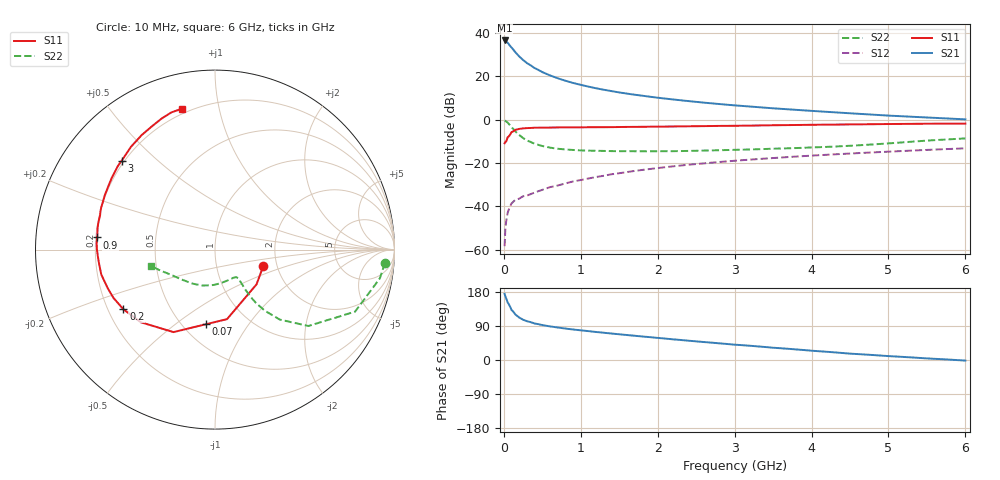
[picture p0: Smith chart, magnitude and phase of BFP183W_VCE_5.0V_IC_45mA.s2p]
! Infineon Technologies  Discrete & RF Semiconductors
! BFP183W
! VCE =  5.0 V,  IC =  45 mA
! Common Emitter S-Parameters:  Jan 2017
# GHz  S  MA  R  50
!  f  S11  S21  S12  S22
! GHz  MAG  ANG  MAG  ANG  MAG  ANG  MAG  ANG
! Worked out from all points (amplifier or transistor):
!   77 points, 10 MHz to 6 GHz, reference 50 ohm
!   highest |S21| = 36.5 dB at 10 MHz (marker M1)
!   |S21| within 3 dB of that: start of sweep to 93.57 MHz
!   unconditionally stable (mu >= 1): 691 MHz to 3.332 GHz
!   at 130 MHz: K = 0.39, MSG = 34.8 dB, |S12| = -37.7 dB
!   at 2.2 GHz: K = 1.07, MAG = 13.9 dB, |S12| = -21.6 dB
!   at 6 GHz: K = 0.85, MSG = 6.7 dB, |S12| = -13.3 dB
!   S11 on the Smith chart (normalised r, x): 10 MHz: 1.69, -0.34; 70 MHz: 0.64, -0.65; 200 MHz: 0.26, -0.28; 900 MHz: 0.21, +0.05; 3 GHz: 0.19, +0.39; 6 GHz: 0.17, +0.78
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0.01  0.2842 -19.1  66.83 174.4  0.0012 83.4  0.9497 -4.5
0.02  0.3017 -39.9  65.65 167.9  0.0031 89.3  0.9324 -9.9
0.05  0.3932 -80.2  59.17 151.8  0.0071 68.3  0.8534 -23.9
0.07  0.4196 -97.2  53.18 145.1  0.0089 62.4  0.7746 -29.2
0.1  0.5146 -116.7  45.96 132.1  0.0116 57.0  0.6722 -39.3
0.15  0.5787 -135.6  35.74 120.1  0.0141 52.8  0.5315 -47.2
0.2  0.6091 -146.9  28.6 112.0  0.015 49.7  0.4394 -50.8
0.25  0.6263 -154.5  23.68 106.4  0.017 50.6  0.3754 -52.5
0.3  0.6349 -160.0  20.09 102.4  0.0176 51.4  0.3306 -53.0
0.4  0.6486 -167.6  15.44 96.4  0.0207 54.9  0.2758 -52.8
0.5  0.6505 -172.9  12.45 92.2  0.0239 55.7  0.2453 -52.0
0.6  0.6539 -176.8  10.44 88.7  0.0276 59.0  0.2251 -51.6
0.7  0.6581 179.8  8.972 85.8  0.0301 62.2  0.2122 -50.9
0.9  0.6597 174.1  6.991 80.5  0.0374 64.3  0.1988 -51.7
1.1  0.6651 169.6  5.752 76.2  0.0437 65.5  0.1924 -53.0
1.5  0.6731 161.4  4.229 67.9  0.0578 66.1  0.1865 -58.6
2.1  0.6892 150.4  3.048 56.5  0.0797 64.7  0.1862 -71.9
3  0.7182 136.4  2.126 40.5  0.1121 59.9  0.2003 -96.9
3.1  0.7216 134.9  2.062 39.1  0.1156 59.3  0.2019 -99.6
4.1  0.7601 121.4  1.547 23.1  0.1507 53.1  0.2306 -126.7
5.1  0.7913 111.1  1.21 9.2  0.1852 46.2  0.2904 -152.1
6  0.8063 103.3  1.01 -1.5  0.2172 39.7  0.3679 -165.7
